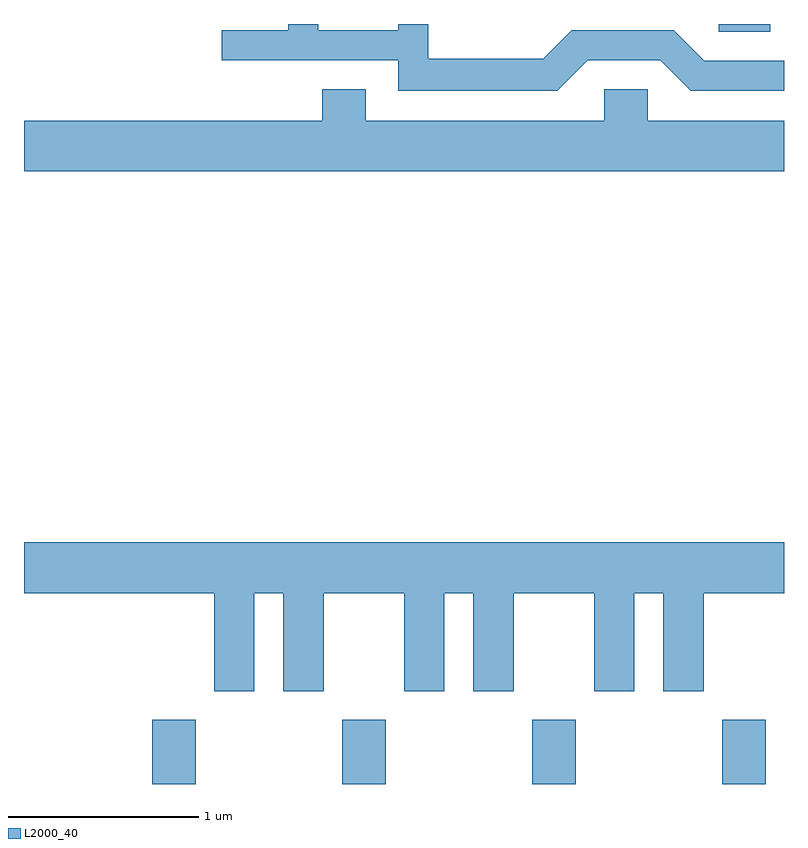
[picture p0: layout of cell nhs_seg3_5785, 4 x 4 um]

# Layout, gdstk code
import gdstk
lib = gdstk.Library(unit=1e-6, precision=1e-09)
def R(c, l, rs):  # rectangles x0, y0, x1, y1
    for r in rs: c.add(gdstk.rectangle(r[:2], r[2:], *l))
def A(c, l, x, y, w, h, nx, ny, dx, dy):  # array of equal rectangles
    R(c, l, [(x+i*dx, y+j*dy, x+i*dx+w, y+j*dy+h) for i in range(nx) for j in range(ny)])
def P(c, l, *ps):  # polygons
    for p in ps: c.add(gdstk.Polygon(p, *l))
L2000_40 = (2000, 40)

nhs_seg3_5785 = lib.new_cell('nhs_seg3_5785')
A(nhs_seg3_5785, L2000_40, 356.286, 1133.892, 0.228, 0.337, 4, 1, 1, 0)
R(nhs_seg3_5785, L2000_40, [(359.268,1137.851,359.539,1137.892)])
P(nhs_seg3_5785, L2000_40, [(358.577,1137.701),(358.959,1137.701),(359.119,1137.541),(359.611,1137.541),(359.611,1137.699),(359.192,1137.699),(359.032,1137.859),(358.494,1137.859),(358.344,1137.709),(357.739,1137.709),(357.739,1137.892),(357.581,1137.892),(357.581,1137.859),(357.159,1137.859),(357.159,1137.892),(357.001,1137.892),(357.001,1137.859),(356.653,1137.859),(356.653,1137.701),(357.581,1137.701),(357.581,1137.541),(358.417,1137.541)],
  [(359.611,1137.384),(358.894,1137.384),(358.894,1137.549),(358.666,1137.549),(358.666,1137.384),(357.409,1137.384),(357.409,1137.549),(357.181,1137.549),(357.181,1137.384),(355.611,1137.384),(355.611,1137.116),(359.611,1137.116)],
  [(356.824,1134.896),(356.976,1134.896),(356.976,1134.381),(357.189,1134.381),(357.189,1134.896),(357.611,1134.896),(357.611,1134.381),(357.824,1134.381),(357.824,1134.896),(357.976,1134.896),(357.976,1134.381),(358.189,1134.381),(358.189,1134.896),(358.611,1134.896),(358.611,1134.381),(358.824,1134.381),(358.824,1134.896),(358.976,1134.896),(358.976,1134.381),(359.189,1134.381),(359.189,1134.896),(359.611,1134.896),(359.611,1135.164),(355.611,1135.164),(355.611,1134.896),(356.611,1134.896),(356.611,1134.381),(356.824,1134.381)])

lib.write_gds('nhs_seg3_5785.gds')
